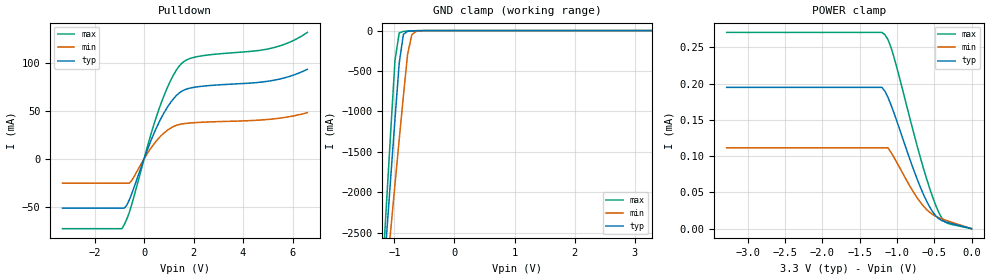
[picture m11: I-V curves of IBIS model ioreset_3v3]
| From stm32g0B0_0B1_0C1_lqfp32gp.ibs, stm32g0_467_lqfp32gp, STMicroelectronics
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|   Model ioreset_3v3
[Model]  ioreset_3v3
Model_type I/O_open_drain
Polarity   Inverting
Enable   Active-High
Vinl =   0.990000V
Vinh =   2.310000V
Vmeas =  1.650000V
Cref =   100.000000nF
Rref =   1.000000k
Vref =   3.300000V
C_comp   0.541680pF   0.532160pF   0.622160pF
[Temperature Range]   25.000000   0.125000k   -40.000000
[Pullup Reference]   3.300000V   2.700000V   3.600000V
[Pulldown Reference]   0.0V   0.0V   0.0V
[POWER Clamp Reference]   3.300000V   2.700000V   3.600000V
[GND Clamp Reference]   0.0V   0.0V   0.0V
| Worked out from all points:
|   slope of the pulldown table from 0 to 0.495 V, typ, clamps not added: 15.4 ohm
|   GND clamp passes 1 mA (typ) near -0.59 V on its own axis
[Pulldown]
|Voltage   I(typ)   I(min)   I(max)
-3.3V     -51.52mA   -25.42mA   -72.94mA
-900mV    -51.52mA   -25.42mA   -72.94mA
-700mV    -48.35mA   -25.42mA   -62.92mA
-500mV    -36.41mA   -22.69mA   -47.62mA
200mV     14.11mA    8.399mA    18.97mA
700mV     43.05mA    24.46mA    58.97mA
1.2V      63.12mA    33.85mA    88.19mA
1.6V      71.68mA    36.7mA     101.4mA
2.3V      75.66mA    38.14mA    107.4mA
5.2V      81.86mA    41.6mA     115.9mA
5.9V      86.24mA    44.14mA    122mA
6.6V      93.48mA    48.19mA    132mA
[GND_clamp]
|Voltage   I(typ)   I(min)   I(max)
-3.3V     -9.812A    -9.988A    -9.329A
-1.2V     -3.251A    -3.583A    -3.017A
-1.13V    -2.528A    -3.02A     -2.122A
-1.06V    -1.808A    -2.459A    -1.234A
-990mV    -1.097A    -1.901A    -369.4mA
-920mV    -404.3mA   -1.349A    -29.79mA
-850mV    -46.63mA   -808.1mA   -9.867mA
-780mV    -8.596mA   -293.7mA   -6.34mA
-710mV    -3.483mA   -50.92mA   -3.779mA
-640mV    -1.689mA   -10.39mA   -1.818mA
-430mV    -117.5uA   -209uA     -95.53uA
3.28V     0A         0A         0A
[POWER_clamp]
|Voltage   I(typ)   I(min)   I(max)
-3.28V    194.9uA    111.5uA    270.7uA
-1.2V     194.9uA    111.5uA    270.7uA
-1.16V    189.6uA    111.5uA    267.5uA
-1.12V    181.3uA    111.5uA    260.9uA
-1.04V    159.9uA    98.51uA    236.9uA
-800mV    88.19uA    54.24uA    142uA
-680mV    55.9uA     35.7uA     96.15uA
-560mV    29.86uA    22.47uA    55.4uA
-440mV    13.83uA    15.14uA    22.69uA
-400mV    11.32uA    13.54uA    14.87uA
-320mV    8.512uA    10.71uA    7.327uA
0V        0A         0A         0A
[Ramp]
| variable   typ   min   max
dV/dt_r  1.97933/62.68895n   1.61903/54.83523n   2.15945/66.91529n
dV/dt_f  1.97933/5.65840n   1.61903/9.16002n   2.15945/4.39127n
R_load = 40.000000k
